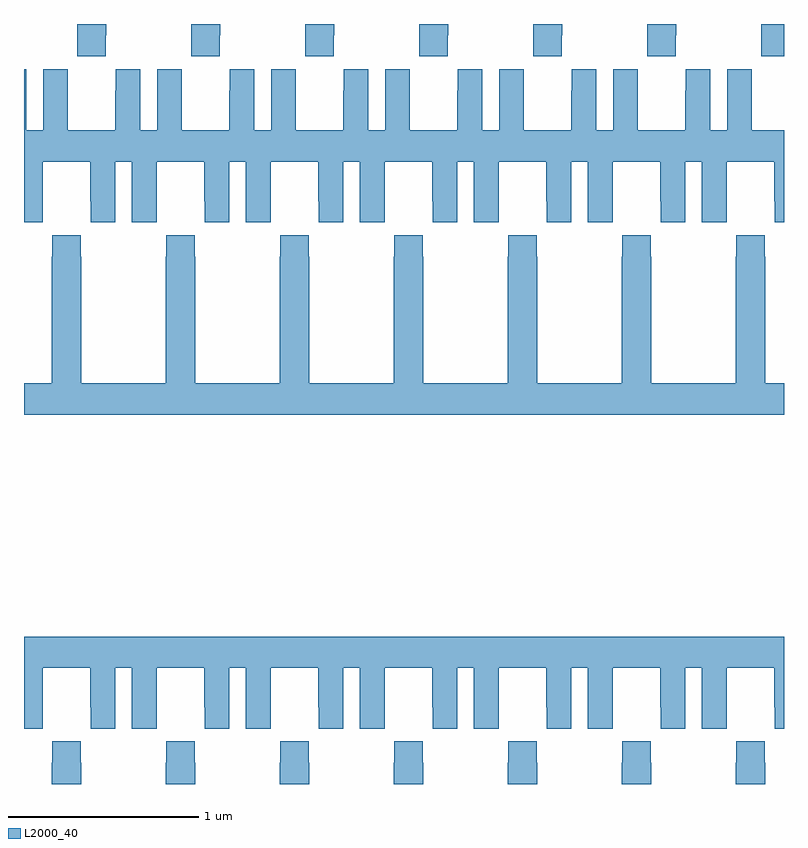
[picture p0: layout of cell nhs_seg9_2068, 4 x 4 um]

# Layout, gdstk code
import gdstk
lib = gdstk.Library(unit=1e-6, precision=1e-09)
def P(c, l, *ps):  # polygons
    for p in ps: c.add(gdstk.Polygon(p, *l))
L2000_40 = (2000, 40)

nhs_seg9_2068 = lib.new_cell('nhs_seg9_2068')
P(nhs_seg9_2068, L2000_40, [(230.031,1174.441),(230.034,1174.441),(230.034,1174.5),(229.879,1174.5),(229.879,1174.441),(229.881,1174.441),(229.881,1174.329),(230.031,1174.329)],
  [(230.631,1174.441),(230.634,1174.441),(230.634,1174.5),(230.479,1174.5),(230.479,1174.441),(230.481,1174.441),(230.481,1174.329),(230.631,1174.329)],
  [(231.231,1174.441),(231.234,1174.441),(231.234,1174.5),(231.079,1174.5),(231.079,1174.441),(231.081,1174.441),(231.081,1174.329),(231.231,1174.329)],
  [(231.831,1174.441),(231.834,1174.441),(231.834,1174.5),(231.679,1174.5),(231.679,1174.441),(231.681,1174.441),(231.681,1174.329),(231.831,1174.329)],
  [(232.431,1174.441),(232.434,1174.441),(232.434,1174.5),(232.279,1174.5),(232.279,1174.441),(232.281,1174.441),(232.281,1174.329),(232.431,1174.329)],
  [(233,1174.5),(232.879,1174.5),(232.879,1174.441),(232.881,1174.441),(232.881,1174.329),(233,1174.329)],
  [(229.279,1174.441),(229.281,1174.441),(229.281,1174.329),(229.431,1174.329),(229.431,1174.441),(229.434,1174.441),(229.434,1174.5),(229.279,1174.5)],
  [(229.831,1174.148),(229.83,1174.148),(229.83,1174.261),(229.7,1174.261),(229.7,1173.94),(229.612,1173.94),(229.612,1174.261),(229.482,1174.261),(229.482,1174.148),(229.481,1174.148),(229.481,1173.94),(229.231,1173.94),(229.231,1174.148),(229.23,1174.148),(229.23,1174.261),(229.1,1174.261),(229.1,1173.94),(229.012,1173.94),(229.012,1174.261),(229,1174.261),(229,1173.456),(229.098,1173.456),(229.098,1173.568),(229.099,1173.568),(229.099,1173.776),(229.349,1173.776),(229.349,1173.568),(229.35,1173.568),(229.35,1173.456),(229.48,1173.456),(229.48,1173.776),(229.568,1173.776),(229.568,1173.456),(229.698,1173.456),(229.698,1173.568),(229.699,1173.568),(229.699,1173.776),(229.949,1173.776),(229.949,1173.568),(229.95,1173.568),(229.95,1173.456),(230.08,1173.456),(230.08,1173.776),(230.168,1173.776),(230.168,1173.456),(230.298,1173.456),(230.298,1173.568),(230.299,1173.568),(230.299,1173.776),(230.549,1173.776),(230.549,1173.568),(230.55,1173.568),(230.55,1173.456),(230.68,1173.456),(230.68,1173.776),(230.768,1173.776),(230.768,1173.456),(230.898,1173.456),(230.898,1173.568),(230.899,1173.568),(230.899,1173.776),(231.149,1173.776),(231.149,1173.568),(231.15,1173.568),(231.15,1173.456),(231.28,1173.456),(231.28,1173.776),(231.368,1173.776),(231.368,1173.456),(231.498,1173.456),(231.498,1173.568),(231.499,1173.568),(231.499,1173.776),(231.749,1173.776),(231.749,1173.568),(231.75,1173.568),(231.75,1173.456),(231.88,1173.456),(231.88,1173.776),(231.968,1173.776),(231.968,1173.456),(232.098,1173.456),(232.098,1173.568),(232.099,1173.568),(232.099,1173.776),(232.349,1173.776),(232.349,1173.568),(232.35,1173.568),(232.35,1173.456),(232.48,1173.456),(232.48,1173.776),(232.568,1173.776),(232.568,1173.456),(232.698,1173.456),(232.698,1173.568),(232.699,1173.568),(232.699,1173.776),(232.949,1173.776),(232.949,1173.568),(232.95,1173.568),(232.95,1173.456),(233,1173.456),(233,1173.94),(232.831,1173.94),(232.831,1174.148),(232.83,1174.148),(232.83,1174.261),(232.7,1174.261),(232.7,1173.94),(232.612,1173.94),(232.612,1174.261),(232.482,1174.261),(232.482,1174.148),(232.481,1174.148),(232.481,1173.94),(232.231,1173.94),(232.231,1174.148),(232.23,1174.148),(232.23,1174.261),(232.1,1174.261),(232.1,1173.94),(232.012,1173.94),(232.012,1174.261),(231.882,1174.261),(231.882,1174.148),(231.881,1174.148),(231.881,1173.94),(231.631,1173.94),(231.631,1174.148),(231.63,1174.148),(231.63,1174.261),(231.5,1174.261),(231.5,1173.94),(231.412,1173.94),(231.412,1174.261),(231.282,1174.261),(231.282,1174.148),(231.281,1174.148),(231.281,1173.94),(231.031,1173.94),(231.031,1174.148),(231.03,1174.148),(231.03,1174.261),(230.9,1174.261),(230.9,1173.94),(230.812,1173.94),(230.812,1174.261),(230.682,1174.261),(230.682,1174.148),(230.681,1174.148),(230.681,1173.94),(230.431,1173.94),(230.431,1174.148),(230.43,1174.148),(230.43,1174.261),(230.3,1174.261),(230.3,1173.94),(230.212,1173.94),(230.212,1174.261),(230.082,1174.261),(230.082,1174.148),(230.081,1174.148),(230.081,1173.94),(229.831,1173.94)],
  [(233,1172.608),(232.902,1172.608),(232.902,1173.275),(232.899,1173.275),(232.899,1173.388),(232.749,1173.388),(232.749,1173.275),(232.747,1173.275),(232.747,1172.608),(232.302,1172.608),(232.302,1173.275),(232.299,1173.275),(232.299,1173.388),(232.149,1173.388),(232.149,1173.275),(232.147,1173.275),(232.147,1172.608),(231.702,1172.608),(231.702,1173.275),(231.699,1173.275),(231.699,1173.388),(231.549,1173.388),(231.549,1173.275),(231.547,1173.275),(231.547,1172.608),(231.102,1172.608),(231.102,1173.275),(231.099,1173.275),(231.099,1173.388),(230.949,1173.388),(230.949,1173.275),(230.947,1173.275),(230.947,1172.608),(230.502,1172.608),(230.502,1173.275),(230.499,1173.275),(230.499,1173.388),(230.349,1173.388),(230.349,1173.275),(230.347,1173.275),(230.347,1172.608),(229.902,1172.608),(229.902,1173.275),(229.899,1173.275),(229.899,1173.388),(229.749,1173.388),(229.749,1173.275),(229.747,1173.275),(229.747,1172.608),(229.302,1172.608),(229.302,1173.275),(229.299,1173.275),(229.299,1173.388),(229.149,1173.388),(229.149,1173.275),(229.147,1173.275),(229.147,1172.608),(229,1172.608),(229,1172.444),(233,1172.444)],
  [(229.098,1170.904),(229.099,1170.904),(229.099,1171.112),(229.349,1171.112),(229.349,1170.904),(229.35,1170.904),(229.35,1170.792),(229.48,1170.792),(229.48,1171.112),(229.568,1171.112),(229.568,1170.792),(229.698,1170.792),(229.698,1170.904),(229.699,1170.904),(229.699,1171.112),(229.949,1171.112),(229.949,1170.904),(229.95,1170.904),(229.95,1170.792),(230.08,1170.792),(230.08,1171.112),(230.168,1171.112),(230.168,1170.792),(230.298,1170.792),(230.298,1170.904),(230.299,1170.904),(230.299,1171.112),(230.549,1171.112),(230.549,1170.904),(230.55,1170.904),(230.55,1170.792),(230.68,1170.792),(230.68,1171.112),(230.768,1171.112),(230.768,1170.792),(230.898,1170.792),(230.898,1170.904),(230.899,1170.904),(230.899,1171.112),(231.149,1171.112),(231.149,1170.904),(231.15,1170.904),(231.15,1170.792),(231.28,1170.792),(231.28,1171.112),(231.368,1171.112),(231.368,1170.792),(231.498,1170.792),(231.498,1170.904),(231.499,1170.904),(231.499,1171.112),(231.749,1171.112),(231.749,1170.904),(231.75,1170.904),(231.75,1170.792),(231.88,1170.792),(231.88,1171.112),(231.968,1171.112),(231.968,1170.792),(232.098,1170.792),(232.098,1170.904),(232.099,1170.904),(232.099,1171.112),(232.349,1171.112),(232.349,1170.904),(232.35,1170.904),(232.35,1170.792),(232.48,1170.792),(232.48,1171.112),(232.568,1171.112),(232.568,1170.792),(232.698,1170.792),(232.698,1170.904),(232.699,1170.904),(232.699,1171.112),(232.949,1171.112),(232.949,1170.904),(232.95,1170.904),(232.95,1170.792),(233,1170.792),(233,1171.276),(229,1171.276),(229,1170.792),(229.098,1170.792)],
  [(232.902,1170.611),(232.899,1170.611),(232.899,1170.724),(232.749,1170.724),(232.749,1170.611),(232.747,1170.611),(232.747,1170.5),(232.902,1170.5)],
  [(232.302,1170.611),(232.299,1170.611),(232.299,1170.724),(232.149,1170.724),(232.149,1170.611),(232.147,1170.611),(232.147,1170.5),(232.302,1170.5)],
  [(231.702,1170.611),(231.699,1170.611),(231.699,1170.724),(231.549,1170.724),(231.549,1170.611),(231.547,1170.611),(231.547,1170.5),(231.702,1170.5)],
  [(231.102,1170.611),(231.099,1170.611),(231.099,1170.724),(230.949,1170.724),(230.949,1170.611),(230.947,1170.611),(230.947,1170.5),(231.102,1170.5)],
  [(230.502,1170.611),(230.499,1170.611),(230.499,1170.724),(230.349,1170.724),(230.349,1170.611),(230.347,1170.611),(230.347,1170.5),(230.502,1170.5)],
  [(229.902,1170.611),(229.899,1170.611),(229.899,1170.724),(229.749,1170.724),(229.749,1170.611),(229.747,1170.611),(229.747,1170.5),(229.902,1170.5)],
  [(229.302,1170.611),(229.299,1170.611),(229.299,1170.724),(229.149,1170.724),(229.149,1170.611),(229.147,1170.611),(229.147,1170.5),(229.302,1170.5)])

lib.write_gds('nhs_seg9_2068.gds')
